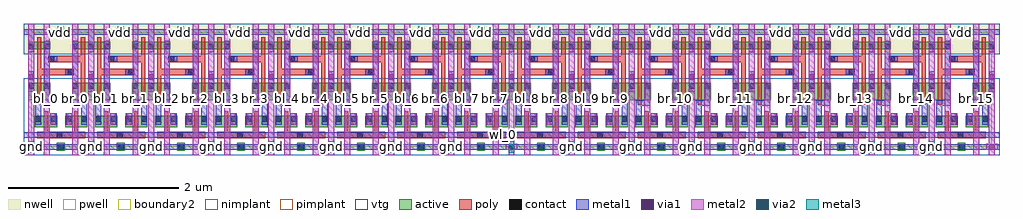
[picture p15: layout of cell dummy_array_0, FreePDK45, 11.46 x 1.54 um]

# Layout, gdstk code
import gdstk
lib = gdstk.Library(unit=1e-6, precision=5e-10)
def R(c, l, rs):  # rectangles x0, y0, x1, y1
    for r in rs: c.add(gdstk.rectangle(r[:2], r[2:], *l))
def A(c, l, x, y, w, h, nx, ny, dx, dy):  # array of equal rectangles
    R(c, l, [(x+i*dx, y+j*dy, x+i*dx+w, y+j*dy+h) for i in range(nx) for j in range(ny)])
active = (1, 0)
pwell = (2, 0)
nwell = (3, 0)
nimplant = (4, 0)
pimplant = (5, 0)
vtg = (6, 0)
poly = (9, 0)
contact = (10, 0)
metal1 = (11, 0)
via1 = (12, 0)
metal2 = (13, 0)
via2 = (14, 0)
metal3 = (15, 0)
boundary2 = (239, 0)

dummy_cell_6t = lib.new_cell('dummy_cell_6t')
R(dummy_cell_6t, active, [(0.3025,-0.045,0.3925,0.045), (0.3025,-0.045,0.3925,0.045), (0.045,0.2275,0.305,0.3625), (0.045,0.2275,0.12,0.3625), (0.045,0.2275,0.12,0.3625), (0.23,0.2275,0.305,0.3625), (0.23,0.2275,0.305,0.3625), (0.4,0.2275,0.66,0.3625), (0.4,0.2275,0.475,0.3625), (0.4,0.2275,0.475,0.3625), (0.585,0.2275,0.66,0.3625), (0.585,0.2275,0.66,0.3625), (0.045,0.2875,0.12,0.3625), (0.23,0.2875,0.305,0.3625), (0.4,0.2875,0.475,0.3625), (0.585,0.2875,0.66,0.3625), (-0.035,0.5475,0.225,0.7525), (-0.035,0.5475,0.04,0.7525), (-0.035,0.5475,0.04,0.7525), (0.15,0.5475,0.225,0.7525), (0.15,0.5475,0.225,0.7525), (0.48,0.5475,0.74,0.7525), (0.48,0.5475,0.555,0.7525), (0.48,0.5475,0.555,0.7525), (0.665,0.5475,0.74,0.7525), (0.665,0.5475,0.74,0.7525), (-0.035,0.6775,0.04,0.7525), (0.15,0.6775,0.225,0.7525), (0.48,0.6775,0.555,0.7525), (0.665,0.6775,0.74,0.7525), (-0.035,1.1425,0.04,1.2175), (-0.035,1.1425,0.225,1.2325), (-0.035,1.1425,0.04,1.2325), (-0.035,1.1425,0.04,1.2325), (0.15,1.1425,0.225,1.2175), (0.15,1.1425,0.225,1.2325), (0.15,1.1425,0.225,1.2325), (0.48,1.1425,0.555,1.2175), (0.48,1.1425,0.74,1.2325), (0.48,1.1425,0.555,1.2325), (0.48,1.1425,0.555,1.2325), (0.665,1.1425,0.74,1.2175), (0.665,1.1425,0.74,1.2325), (0.665,1.1425,0.74,1.2325), (0.3025,1.3,0.3925,1.39), (0.3025,1.3,0.3925,1.39)])
R(dummy_cell_6t, pwell, [(-0.09,-0.1,0.795,0.8075), (0.2475,-0.1,0.4475,0.1), (0.2475,-0.1,0.4475,0.1), (-0.01,0.1725,0.36,0.4175), (0.345,0.1725,0.715,0.4175), (-0.09,0.4925,0.28,0.8075), (0.425,0.4925,0.795,0.8075)])
R(dummy_cell_6t, nwell, [(-0.09,1.0875,0.28,1.2875), (-0.09,1.0875,0.795,1.445), (0.425,1.0875,0.795,1.2875), (0.2475,1.245,0.4475,1.445), (0.2475,1.245,0.4475,1.445)])
R(dummy_cell_6t, nimplant, [(0.045,0.2275,0.305,0.3625), (0.4,0.2275,0.66,0.3625), (-0.035,0.5475,0.225,0.7525), (0.48,0.5475,0.74,0.7525), (0.3025,1.3,0.3925,1.39), (0.3025,1.3,0.3925,1.39)])
R(dummy_cell_6t, pimplant, [(0.3025,-0.045,0.3925,0.045), (-0.035,1.1425,0.225,1.2325), (0.48,1.1425,0.74,1.2325)])
R(dummy_cell_6t, vtg, [(-0.09,-0.1,0.795,0.8075), (-0.01,0.1725,0.36,0.4175), (0.345,0.1725,0.715,0.4175), (-0.09,0.4925,0.28,0.8075), (0.425,0.4925,0.795,0.8075), (-0.09,1.0875,0.28,1.2875), (-0.09,1.0875,0.795,1.445), (0.425,1.0875,0.795,1.2875)])
R(dummy_cell_6t, poly, [(0.07,0.1025,0.635,0.1775), (0.2975,0.1025,0.3725,0.1775), (0.15,0.1725,0.2,0.2275), (0.15,0.1725,0.2,0.4175), (0.505,0.1725,0.555,0.2275), (0.505,0.1725,0.555,0.4175), (0.15,0.3625,0.2,0.4175), (0.505,0.3625,0.555,0.4175), (0.07,0.4925,0.12,0.5475), (0.07,0.4925,0.12,0.8075), (0.585,0.4925,0.635,0.5475), (0.585,0.4925,0.635,0.8075), (0.07,0.7525,0.12,0.8075), (0.585,0.7525,0.635,0.8075), (0.07,0.8075,0.12,1.0875), (0.07,0.8075,0.12,1.0875), (0.585,0.8075,0.635,1.0875), (0.585,0.8075,0.635,1.0875), (0.07,0.8425,0.5025,0.9175), (0.4275,0.8425,0.5025,0.9175), (0.4275,0.8425,0.5025,0.9175), (0.2025,0.9925,0.2775,1.0675), (0.2025,0.9925,0.2775,1.0675), (0.2025,0.9925,0.635,1.0675), (0.07,1.0875,0.12,1.1425), (0.07,1.0875,0.12,1.2875), (0.585,1.0875,0.635,1.1425), (0.585,1.0875,0.635,1.2875), (0.07,1.2325,0.12,1.2875), (0.585,1.2325,0.635,1.2875)])
R(dummy_cell_6t, contact, [(0.315,-0.0325,0.38,0.0325), (0.32,-0.0325,0.385,0.0325), (0.3025,0.1075,0.3675,0.1725), (0.05,0.2925,0.115,0.3575), (0.235,0.2925,0.3,0.3575), (0.405,0.2925,0.47,0.3575), (0.59,0.2925,0.655,0.3575), (-0.03,0.6825,0.035,0.7475), (0.155,0.6825,0.22,0.7475), (0.485,0.6825,0.55,0.7475), (0.67,0.6825,0.735,0.7475), (0.4325,0.8475,0.4975,0.9125), (0.4325,0.8475,0.4975,0.9125), (0.2075,0.9975,0.2725,1.0625), (0.2075,0.9975,0.2725,1.0625), (-0.03,1.1475,0.035,1.2125), (0.155,1.1475,0.22,1.2125), (0.485,1.1475,0.55,1.2125), (0.67,1.1475,0.735,1.2125), (0.315,1.3125,0.38,1.3775)])
R(dummy_cell_6t, metal1, [(-0.09,-0.0325,0.795,0.0325), (-0.0675,-0.0325,0.0675,0.0325), (-0.0675,-0.0325,0.0675,0.0325), (0.285,-0.0325,0.42,0.0325), (0.285,-0.0325,0.42,0.0325), (0.6375,-0.0325,0.7725,0.0325), (0.6375,-0.0325,0.7725,0.0325), (0.6375,-0.0325,0.7725,0.0325), (0.6375,-0.0325,0.7725,0.0325), (-0.09,0.1075,0.795,0.1725), (-0.09,0.1075,0.795,0.1725), (0.2675,0.1075,0.4025,0.1725), (-0.085,0.11,-0.0325,0.1725), (0.62,0.11,0.6725,0.1725), (0.05,0.2575,0.115,0.3925), (0.05,0.2575,0.12,0.5475), (0.2225,0.2575,0.2875,0.3925), (0.235,0.2575,0.3,0.3925), (0.405,0.2575,0.47,0.3925), (0.4175,0.2575,0.4825,0.3925), (0.59,0.2575,0.655,0.3925), (0.59,0.2575,0.66,0.5475), (0.05,0.4825,0.22,0.5475), (0.155,0.4825,0.22,1.2225), (0.485,0.4825,0.66,0.5475), (0.485,0.4825,0.55,1.1125), (-0.035,0.6475,0.035,0.7825), (-0.035,0.6475,0.035,0.7825), (-0.03,0.6475,0.035,0.7825), (0.155,0.6475,0.22,0.7825), (0.485,0.6475,0.55,0.7825), (0.67,0.6475,0.735,0.7825), (0.67,0.6475,0.74,0.7825), (0.67,0.6475,0.74,0.7825), (0.67,0.6475,0.74,0.7825), (0.67,0.6475,0.74,0.7825), (0.67,0.6475,0.74,0.7825), (0.67,0.6475,0.74,0.7825), (-0.0325,0.75,0.0325,0.885), (-0.0325,0.75,0.0325,0.885), (-0.0325,0.75,0.0325,0.885), (-0.0325,0.75,0.0325,0.885), (-0.0325,0.75,0.0325,0.885), (-0.0325,0.75,0.0325,0.885), (0.6725,0.75,0.7375,0.885), (0.6725,0.75,0.7375,0.885), (0.6725,0.75,0.7375,0.885), (0.6725,0.75,0.7375,0.885), (0.6725,0.75,0.7375,0.885), (0.6725,0.75,0.7375,0.885), (0.6725,0.75,0.7375,0.885), (0.6725,0.75,0.7375,0.885), (0.6725,0.75,0.7375,0.885), (0.6725,0.75,0.7375,0.885), (0.6725,0.75,0.7375,0.885), (0.6725,0.75,0.7375,0.885), (0.6725,0.75,0.7375,0.885), (0.6725,0.75,0.7375,0.885), (0.6725,0.75,0.7375,0.885), (0.6725,0.75,0.7375,0.885), (0.6725,0.75,0.7375,0.885), (0.6725,0.75,0.7375,0.885), (0.6725,0.75,0.7375,0.885), (0.6725,0.75,0.7375,0.885), (0.6725,0.75,0.7375,0.885), (0.6725,0.75,0.7375,0.885), (0.6725,0.75,0.7375,0.885), (0.6725,0.75,0.7375,0.885), (0.3975,0.8475,0.5325,0.9125), (0.3975,0.8475,0.5325,0.9125), (0.1725,0.9975,0.3075,1.0625), (0.1725,0.9975,0.3075,1.0625), (-0.035,1.1125,0.035,1.3125), (-0.03,1.1125,0.035,1.2475), (0.155,1.1125,0.22,1.2475), (0.485,1.1125,0.55,1.2475), (0.67,1.1125,0.735,1.2475), (0.67,1.1125,0.74,1.3125), (0.67,1.1125,0.74,1.3125), (-0.09,1.3125,0.795,1.3775)])
R(dummy_cell_6t, via1, [(-0.0325,-0.0325,0.0325,0.0325), (-0.0325,-0.0325,0.0325,0.0325), (0.6725,-0.0325,0.7375,0.0325), (0.6725,-0.0325,0.7375,0.0325), (0.6725,-0.0325,0.7375,0.0325), (0.6725,-0.0325,0.7375,0.0325), (-0.0325,0.785,0.0325,0.85), (-0.0325,0.785,0.0325,0.85), (-0.0325,0.785,0.0325,0.85), (-0.0325,0.785,0.0325,0.85), (-0.0325,0.785,0.0325,0.85), (-0.0325,0.785,0.0325,0.85), (0.6725,0.785,0.7375,0.85), (0.6725,0.785,0.7375,0.85), (0.6725,0.785,0.7375,0.85), (0.6725,0.785,0.7375,0.85), (0.6725,0.785,0.7375,0.85), (0.6725,0.785,0.7375,0.85), (0.6725,0.785,0.7375,0.85), (0.6725,0.785,0.7375,0.85), (0.6725,0.785,0.7375,0.85), (0.6725,0.785,0.7375,0.85), (0.6725,0.785,0.7375,0.85), (0.6725,0.785,0.7375,0.85), (0.6725,0.785,0.7375,0.85), (0.6725,0.785,0.7375,0.85), (0.6725,0.785,0.7375,0.85), (0.6725,0.785,0.7375,0.85), (0.6725,0.785,0.7375,0.85), (0.6725,0.785,0.7375,0.85), (0.6725,0.785,0.7375,0.85), (0.6725,0.785,0.7375,0.85), (0.6725,0.785,0.7375,0.85), (0.6725,0.785,0.7375,0.85), (0.6725,0.785,0.7375,0.85), (0.6725,0.785,0.7375,0.85), (0.315,1.3125,0.38,1.3775)])
R(dummy_cell_6t, metal2, [(-0.035,-0.1,0.035,1.445), (0.15,-0.1,0.22,1.445), (0.15,-0.1,0.22,1.445), (0.485,-0.1,0.555,1.445), (0.485,-0.1,0.555,1.445), (0.67,-0.1,0.74,1.445), (-0.0675,-0.035,0.0675,0.035), (-0.0675,-0.035,0.0675,0.035), (-0.0675,-0.035,0.0675,0.035), (0.6375,-0.035,0.7725,0.035), (0.6375,-0.035,0.7725,0.035), (0.6375,-0.035,0.7725,0.035), (0.6375,-0.035,0.7725,0.035), (0.4925,-0.0325,0.55,0.0275), (0.67,-0.0325,0.74,1.3775), (-0.03,-0.03,0.03,0.0275), (0.1575,-0.025,0.2125,0.0275), (0.675,-0.025,0.735,0.0325), (0.22,0.2575,0.29,0.3925), (0.415,0.2575,0.485,0.3925), (-0.035,0.75,0.035,0.885), (-0.035,0.75,0.035,0.885), (-0.035,0.75,0.035,0.885), (-0.035,0.75,0.035,0.885), (-0.035,0.75,0.035,0.885), (-0.035,0.75,0.035,0.885), (0.67,0.75,0.74,0.885), (0.67,0.75,0.74,0.885), (0.67,0.75,0.74,0.885), (0.67,0.75,0.74,0.885), (0.67,0.75,0.74,0.885), (0.67,0.75,0.74,0.885), (0.67,0.75,0.74,0.885), (0.67,0.75,0.74,0.885), (0.67,0.75,0.74,0.885), (0.67,0.75,0.74,0.885), (0.67,0.75,0.74,0.885), (0.67,0.75,0.74,0.885), (0.67,0.75,0.74,0.885), (0.67,0.75,0.74,0.885), (0.67,0.75,0.74,0.885), (0.67,0.75,0.74,0.885), (0.67,0.75,0.74,0.885), (0.67,0.75,0.74,0.885), (0.67,0.75,0.74,0.885), (0.67,0.75,0.74,0.885), (0.67,0.75,0.74,0.885), (0.67,0.75,0.74,0.885), (0.67,0.75,0.74,0.885), (0.67,0.75,0.74,0.885), (0.3125,1.2775,0.3825,1.4125), (0.3125,1.2775,0.3825,1.4125)])
R(dummy_cell_6t, boundary2, [(0,0,0.705,1.345)])
dummy_cell_6t.add(gdstk.Label('wl', (-0.05,0.147), layer=11, texttype=0))
dummy_cell_6t.add(gdstk.Label('vdd', (0.368,1.355), layer=13, texttype=0))
dummy_cell_6t.add(gdstk.Label('gnd', (-0.0475,0.015), layer=13, texttype=0))
dummy_cell_6t.add(gdstk.Label('br', (0.52,0.003), layer=13, texttype=0))
dummy_cell_6t.add(gdstk.Label('bl', (0.19,0.003), layer=13, texttype=0))
dummy_cell_6t.add(gdstk.Label('bl', (0.185,0.6725), layer=13, texttype=0))
dummy_cell_6t.add(gdstk.Label('br', (0.52,0.6725), layer=13, texttype=0))
dummy_cell_6t.add(gdstk.Label('wl', (0.3525,0.14), layer=11, texttype=0))
dummy_cell_6t.add(gdstk.Label('vdd', (0.3475,1.345), layer=13, texttype=0))
dummy_cell_6t.add(gdstk.Label('gnd', (0,0), layer=13, texttype=0))

contact_13 = lib.new_cell('contact_13')
R(contact_13, metal2, [(0,0,0.07,0.135)])
R(contact_13, via2, [(0.0025,0.035,0.0675,0.1)])
R(contact_13, metal3, [(0,0,0.07,0.135)])

dummy_array_0 = lib.new_cell('dummy_array_0')
R(dummy_array_0, metal1, [(-0.09,0.1075,11.19,0.1725)])
R(dummy_array_0, metal2, [(0.15,-0.1,0.22,1.245), (0.485,-0.1,0.555,1.245), (0.855,-0.1,0.925,1.245), (1.19,-0.1,1.26,1.245), (1.56,-0.1,1.63,1.245), (1.895,-0.1,1.965,1.245), (2.265,-0.1,2.335,1.245), (2.6,-0.1,2.67,1.245), (2.97,-0.1,3.04,1.245), (3.305,-0.1,3.375,1.245), (3.675,-0.1,3.745,1.245), (4.01,-0.1,4.08,1.245), (4.38,-0.1,4.45,1.245), (4.715,-0.1,4.785,1.245), (5.085,-0.1,5.155,1.245), (5.42,-0.1,5.49,1.245), (5.79,-0.1,5.86,1.245), (6.125,-0.1,6.195,1.245), (6.495,-0.1,6.565,1.245), (6.83,-0.1,6.9,1.245), (7.2,-0.1,7.27,1.245), (7.535,-0.1,7.605,1.245), (7.905,-0.1,7.975,1.245), (8.24,-0.1,8.31,1.245), (8.61,-0.1,8.68,1.245), (8.945,-0.1,9.015,1.245), (9.315,-0.1,9.385,1.245), (9.65,-0.1,9.72,1.245), (10.02,-0.1,10.09,1.245), (10.355,-0.1,10.425,1.245), (10.725,-0.1,10.795,1.245), (11.06,-0.1,11.13,1.245)])
A(dummy_array_0, metal3, -0.035, -0.0675, 0.07, 0.135, 16, 1, 0.705, 0)
A(dummy_array_0, metal3, 0.3125, 1.2775, 0.07, 0.135, 16, 1, 0.705, 0)
R(dummy_array_0, boundary2, [(0,0,11.28,1.345)])
dummy_array_0.add(gdstk.Reference(dummy_cell_6t, (0,0)))
dummy_array_0.add(gdstk.Reference(dummy_cell_6t, (0.705,0)))
dummy_array_0.add(gdstk.Reference(dummy_cell_6t, (1.41,0)))
dummy_array_0.add(gdstk.Reference(dummy_cell_6t, (2.115,0)))
dummy_array_0.add(gdstk.Reference(dummy_cell_6t, (2.82,0)))
dummy_array_0.add(gdstk.Reference(dummy_cell_6t, (3.525,0)))
dummy_array_0.add(gdstk.Reference(dummy_cell_6t, (4.23,0)))
dummy_array_0.add(gdstk.Reference(dummy_cell_6t, (4.935,0)))
dummy_array_0.add(gdstk.Reference(dummy_cell_6t, (5.64,0)))
dummy_array_0.add(gdstk.Reference(dummy_cell_6t, (6.345,0)))
dummy_array_0.add(gdstk.Reference(dummy_cell_6t, (7.05,0)))
dummy_array_0.add(gdstk.Reference(dummy_cell_6t, (7.755,0)))
dummy_array_0.add(gdstk.Reference(dummy_cell_6t, (8.46,0)))
dummy_array_0.add(gdstk.Reference(dummy_cell_6t, (9.165,0)))
dummy_array_0.add(gdstk.Reference(dummy_cell_6t, (9.87,0)))
dummy_array_0.add(gdstk.Reference(dummy_cell_6t, (10.575,0)))
dummy_array_0.add(gdstk.Reference(contact_13, (0.3125,1.2775)))
dummy_array_0.add(gdstk.Reference(contact_13, (-0.035,-0.0675)))
dummy_array_0.add(gdstk.Reference(contact_13, (1.0175,1.2775)))
dummy_array_0.add(gdstk.Reference(contact_13, (0.67,-0.0675)))
dummy_array_0.add(gdstk.Reference(contact_13, (1.7225,1.2775)))
dummy_array_0.add(gdstk.Reference(contact_13, (1.375,-0.0675)))
dummy_array_0.add(gdstk.Reference(contact_13, (2.4275,1.2775)))
dummy_array_0.add(gdstk.Reference(contact_13, (2.08,-0.0675)))
dummy_array_0.add(gdstk.Reference(contact_13, (3.1325,1.2775)))
dummy_array_0.add(gdstk.Reference(contact_13, (2.785,-0.0675)))
dummy_array_0.add(gdstk.Reference(contact_13, (3.8375,1.2775)))
dummy_array_0.add(gdstk.Reference(contact_13, (3.49,-0.0675)))
dummy_array_0.add(gdstk.Reference(contact_13, (4.5425,1.2775)))
dummy_array_0.add(gdstk.Reference(contact_13, (4.195,-0.0675)))
dummy_array_0.add(gdstk.Reference(contact_13, (5.2475,1.2775)))
dummy_array_0.add(gdstk.Reference(contact_13, (4.9,-0.0675)))
dummy_array_0.add(gdstk.Reference(contact_13, (5.9525,1.2775)))
dummy_array_0.add(gdstk.Reference(contact_13, (5.605,-0.0675)))
dummy_array_0.add(gdstk.Reference(contact_13, (6.6575,1.2775)))
dummy_array_0.add(gdstk.Reference(contact_13, (6.31,-0.0675)))
dummy_array_0.add(gdstk.Reference(contact_13, (7.3625,1.2775)))
dummy_array_0.add(gdstk.Reference(contact_13, (7.015,-0.0675)))
dummy_array_0.add(gdstk.Reference(contact_13, (8.0675,1.2775)))
dummy_array_0.add(gdstk.Reference(contact_13, (7.72,-0.0675)))
dummy_array_0.add(gdstk.Reference(contact_13, (8.7725,1.2775)))
dummy_array_0.add(gdstk.Reference(contact_13, (8.425,-0.0675)))
dummy_array_0.add(gdstk.Reference(contact_13, (9.4775,1.2775)))
dummy_array_0.add(gdstk.Reference(contact_13, (9.13,-0.0675)))
dummy_array_0.add(gdstk.Reference(contact_13, (10.1825,1.2775)))
dummy_array_0.add(gdstk.Reference(contact_13, (9.835,-0.0675)))
dummy_array_0.add(gdstk.Reference(contact_13, (10.8875,1.2775)))
dummy_array_0.add(gdstk.Reference(contact_13, (10.54,-0.0675)))
dummy_array_0.add(gdstk.Label('bl_0', (0.185,0.5725), layer=13, texttype=0))
dummy_array_0.add(gdstk.Label('br_0', (0.52,0.5725), layer=13, texttype=0))
dummy_array_0.add(gdstk.Label('bl_1', (0.89,0.5725), layer=13, texttype=0))
dummy_array_0.add(gdstk.Label('br_1', (1.225,0.5725), layer=13, texttype=0))
dummy_array_0.add(gdstk.Label('bl_2', (1.595,0.5725), layer=13, texttype=0))
dummy_array_0.add(gdstk.Label('br_2', (1.93,0.5725), layer=13, texttype=0))
dummy_array_0.add(gdstk.Label('bl_3', (2.3,0.5725), layer=13, texttype=0))
dummy_array_0.add(gdstk.Label('br_3', (2.635,0.5725), layer=13, texttype=0))
dummy_array_0.add(gdstk.Label('bl_4', (3.005,0.5725), layer=13, texttype=0))
dummy_array_0.add(gdstk.Label('br_4', (3.34,0.5725), layer=13, texttype=0))
dummy_array_0.add(gdstk.Label('bl_5', (3.71,0.5725), layer=13, texttype=0))
dummy_array_0.add(gdstk.Label('br_5', (4.045,0.5725), layer=13, texttype=0))
dummy_array_0.add(gdstk.Label('bl_6', (4.415,0.5725), layer=13, texttype=0))
dummy_array_0.add(gdstk.Label('br_6', (4.75,0.5725), layer=13, texttype=0))
dummy_array_0.add(gdstk.Label('bl_7', (5.12,0.5725), layer=13, texttype=0))
dummy_array_0.add(gdstk.Label('br_7', (5.455,0.5725), layer=13, texttype=0))
dummy_array_0.add(gdstk.Label('bl_8', (5.825,0.5725), layer=13, texttype=0))
dummy_array_0.add(gdstk.Label('br_8', (6.16,0.5725), layer=13, texttype=0))
dummy_array_0.add(gdstk.Label('bl_9', (6.53,0.5725), layer=13, texttype=0))
dummy_array_0.add(gdstk.Label('br_9', (6.865,0.5725), layer=13, texttype=0))
dummy_array_0.add(gdstk.Label('bl_10', (7.235,0.5725), layer=13, texttype=0))
dummy_array_0.add(gdstk.Label('br_10', (7.57,0.5725), layer=13, texttype=0))
dummy_array_0.add(gdstk.Label('bl_11', (7.94,0.5725), layer=13, texttype=0))
dummy_array_0.add(gdstk.Label('br_11', (8.275,0.5725), layer=13, texttype=0))
dummy_array_0.add(gdstk.Label('bl_12', (8.645,0.5725), layer=13, texttype=0))
dummy_array_0.add(gdstk.Label('br_12', (8.98,0.5725), layer=13, texttype=0))
dummy_array_0.add(gdstk.Label('bl_13', (9.35,0.5725), layer=13, texttype=0))
dummy_array_0.add(gdstk.Label('br_13', (9.685,0.5725), layer=13, texttype=0))
dummy_array_0.add(gdstk.Label('bl_14', (10.055,0.5725), layer=13, texttype=0))
dummy_array_0.add(gdstk.Label('br_14', (10.39,0.5725), layer=13, texttype=0))
dummy_array_0.add(gdstk.Label('bl_15', (10.76,0.5725), layer=13, texttype=0))
dummy_array_0.add(gdstk.Label('br_15', (11.095,0.5725), layer=13, texttype=0))
dummy_array_0.add(gdstk.Label('wl_0', (5.55,0.14), layer=11, texttype=0))
dummy_array_0.add(gdstk.Label('vdd', (5.2825,1.345), layer=15, texttype=0))
dummy_array_0.add(gdstk.Label('vdd', (7.3975,1.345), layer=15, texttype=0))
dummy_array_0.add(gdstk.Label('vdd', (4.5775,1.345), layer=15, texttype=0))
dummy_array_0.add(gdstk.Label('vdd', (10.2175,1.345), layer=15, texttype=0))
dummy_array_0.add(gdstk.Label('vdd', (10.9225,1.345), layer=15, texttype=0))
dummy_array_0.add(gdstk.Label('vdd', (0.3475,1.345), layer=15, texttype=0))
dummy_array_0.add(gdstk.Label('vdd', (3.8725,1.345), layer=15, texttype=0))
dummy_array_0.add(gdstk.Label('vdd', (9.5125,1.345), layer=15, texttype=0))
dummy_array_0.add(gdstk.Label('vdd', (3.1675,1.345), layer=15, texttype=0))
dummy_array_0.add(gdstk.Label('vdd', (1.7575,1.345), layer=15, texttype=0))
dummy_array_0.add(gdstk.Label('vdd', (8.1025,1.345), layer=15, texttype=0))
dummy_array_0.add(gdstk.Label('vdd', (5.9875,1.345), layer=15, texttype=0))
dummy_array_0.add(gdstk.Label('vdd', (1.0525,1.345), layer=15, texttype=0))
dummy_array_0.add(gdstk.Label('vdd', (6.6925,1.345), layer=15, texttype=0))
dummy_array_0.add(gdstk.Label('vdd', (2.4625,1.345), layer=15, texttype=0))
dummy_array_0.add(gdstk.Label('vdd', (8.8075,1.345), layer=15, texttype=0))
dummy_array_0.add(gdstk.Label('gnd', (3.525,0), layer=15, texttype=0))
dummy_array_0.add(gdstk.Label('gnd', (0,0), layer=15, texttype=0))
dummy_array_0.add(gdstk.Label('gnd', (2.82,0), layer=15, texttype=0))
dummy_array_0.add(gdstk.Label('gnd', (7.05,0), layer=15, texttype=0))
dummy_array_0.add(gdstk.Label('gnd', (8.46,0), layer=15, texttype=0))
dummy_array_0.add(gdstk.Label('gnd', (0.705,0), layer=15, texttype=0))
dummy_array_0.add(gdstk.Label('gnd', (9.165,0), layer=15, texttype=0))
dummy_array_0.add(gdstk.Label('gnd', (4.23,0), layer=15, texttype=0))
dummy_array_0.add(gdstk.Label('gnd', (10.575,0), layer=15, texttype=0))
dummy_array_0.add(gdstk.Label('gnd', (9.87,0), layer=15, texttype=0))
dummy_array_0.add(gdstk.Label('gnd', (2.115,0), layer=15, texttype=0))
dummy_array_0.add(gdstk.Label('gnd', (4.935,0), layer=15, texttype=0))
dummy_array_0.add(gdstk.Label('gnd', (1.41,0), layer=15, texttype=0))
dummy_array_0.add(gdstk.Label('gnd', (5.64,0), layer=15, texttype=0))
dummy_array_0.add(gdstk.Label('gnd', (7.755,0), layer=15, texttype=0))
dummy_array_0.add(gdstk.Label('gnd', (6.345,0), layer=15, texttype=0))

lib.write_gds('dummy_array_0.gds')
